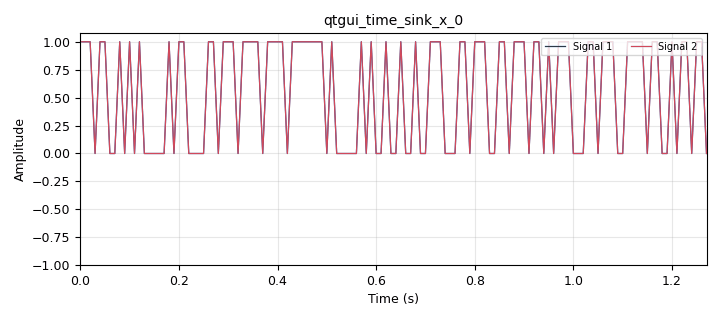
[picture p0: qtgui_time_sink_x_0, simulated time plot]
options:
  parameters:
    author: Cristóvão Rufino
    generate_options: qt_gui
    id: cc_test
    output_language: python
    title: CC Test
  states: {}

blocks:
- name: samp_rate
  id: variable
  parameters:
    value: '100'
  states: {}
- name: analog_random_uniform_source_x_0
  id: analog_random_uniform_source_x
  parameters:
    maximum: '2'
    minimum: '0'
    seed: '0'
    type: byte
  states: {}
- name: blocks_add_const_vxx_0
  id: blocks_add_const_vxx
  parameters:
    const: '-1'
    type: float
  states: {}
- name: blocks_char_to_float_0
  id: blocks_char_to_float
  parameters:
    scale: '.5'
  states: {}
- name: blocks_char_to_float_0_0
  id: blocks_char_to_float
  parameters:
    scale: '1'
  states: {}
- name: blocks_char_to_float_0_1
  id: blocks_char_to_float
  parameters:
    scale: '1'
  states: {}
- name: blocks_delay_0
  id: blocks_delay
  parameters:
    delay: '4'
    type: byte
  states: {}
- name: blocks_null_sink_0
  id: blocks_null_sink
  parameters:
    type: byte
  states: {}
- name: blocks_null_source_0
  id: blocks_null_source
  parameters:
    type: byte
  states: {}
- name: blocks_throttle2_0
  id: blocks_throttle2
  parameters:
    samples_per_second: samp_rate
    type: byte
  states: {}
- name: fec_decode_ccsds_27_fb_0
  id: fec_decode_ccsds_27_fb
  parameters: {}
  states: {}
- name: fec_encode_ccsds_27_bb_0
  id: fec_encode_ccsds_27_bb
  parameters: {}
  states: {}
- name: qtgui_time_sink_x_0
  id: qtgui_time_sink_x
  parameters:
    nconnections: '2'
    size: '128'
    srate: samp_rate
    type: float
  states: {}

connections:
- [analog_random_uniform_source_x_0, '0', blocks_delay_0, '0']
- [analog_random_uniform_source_x_0, '0', fec_encode_ccsds_27_bb_0, '0']
- [blocks_add_const_vxx_0, '0', fec_decode_ccsds_27_fb_0, '0']
- [blocks_char_to_float_0, '0', blocks_add_const_vxx_0, '0']
- [blocks_char_to_float_0_0, '0', qtgui_time_sink_x_0, '1']
- [blocks_char_to_float_0_1, '0', qtgui_time_sink_x_0, '0']
- [blocks_delay_0, '0', blocks_char_to_float_0_1, '0']
- [blocks_null_source_0, '0', blocks_throttle2_0, '0']
- [blocks_throttle2_0, '0', blocks_null_sink_0, '0']
- [fec_decode_ccsds_27_fb_0, '0', blocks_char_to_float_0_0, '0']
- [fec_encode_ccsds_27_bb_0, '0', blocks_char_to_float_0, '0']

metadata:
  file_format: 1
  grc_version: 3.10.8.0
